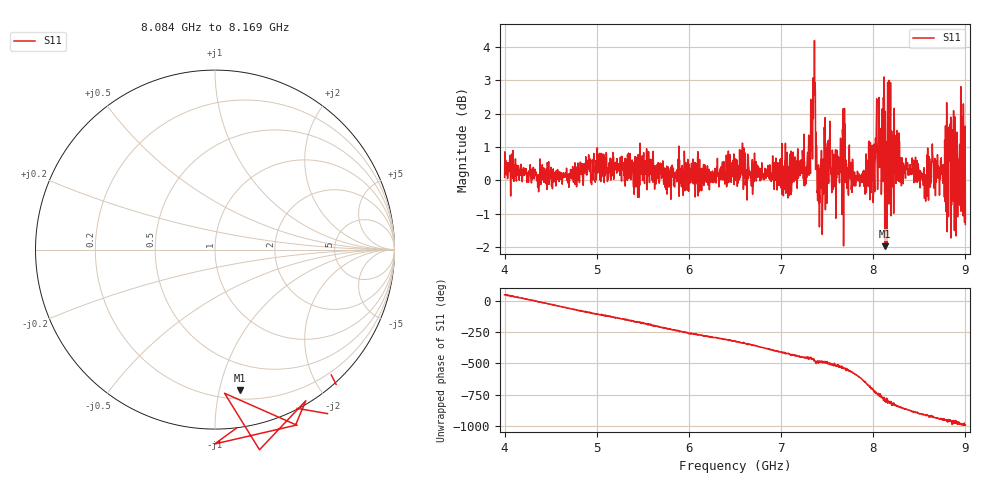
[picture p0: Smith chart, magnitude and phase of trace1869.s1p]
! Created with skrf 1.8.0 (http://scikit-rf.org).
# Hz S RI R 50.0
!freq ReS11 ImS11
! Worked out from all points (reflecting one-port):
!   1601 points, 4 GHz to 9 GHz, reference 50 ohm
!   lowest |S11| = -2.0 dB at 8.125 GHz (marker M1), VSWR 8.84, Z = 13.5 - j57.9 ohm
!   phase of S11 starts at 51 deg and turns -1044 deg over the sweep
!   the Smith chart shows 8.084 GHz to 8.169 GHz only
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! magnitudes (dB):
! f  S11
! 4 GHz  0.1
! 4.625 GHz  -0.1
! 5.25 GHz  0.2
! 5.875 GHz  0.3
! 6.5 GHz  0.3
! 7.125 GHz  0.5
! 7.294 GHz  0.4
! 7.347 GHz  3.1
! 7.369 GHz  2.9
! 7.4 GHz  0.0
! 7.422 GHz  -0.7
! 7.509 GHz  0.6
! 7.569 GHz  -0.1
! 7.669 GHz  1.4
! 7.75 GHz  0.0
! 7.991 GHz  0.9
! 8.097 GHz  0.5
! 8.125 GHz  -2.0
! 8.178 GHz  2.1
! 8.216 GHz  1.0
! 8.375 GHz  0.5
! 8.578 GHz  0.2
! 8.631 GHz  0.1
! 8.766 GHz  0.5
! 8.816 GHz  -1.1
! 8.906 GHz  0.7
! 8.959 GHz  1.8
! 9 GHz  -1.3
